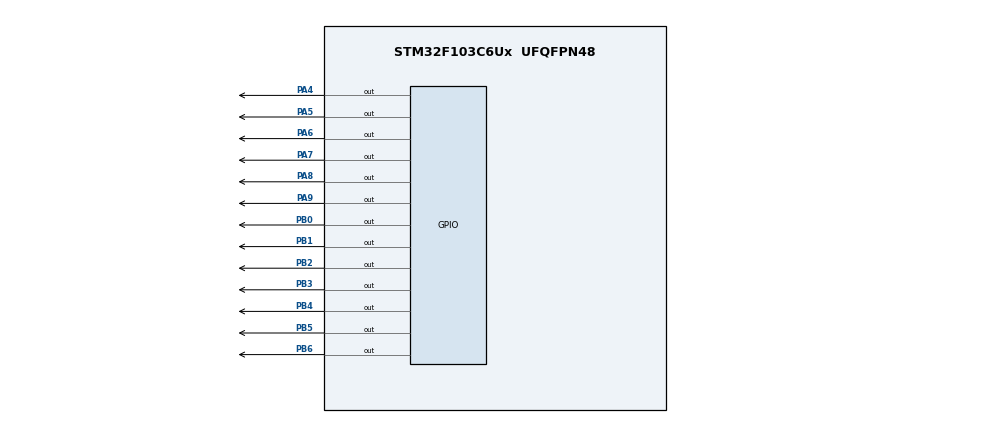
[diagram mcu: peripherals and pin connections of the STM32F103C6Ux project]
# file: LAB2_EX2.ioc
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Mcu.Family=STM32F1
Mcu.Name=STM32F103C6Ux
Mcu.Package=UFQFPN48
NVIC.PriorityGroup=NVIC_PRIORITYGROUP_4
NVIC.TIM2_IRQn=true\:0\:0\:false\:false\:true\:true\:true
PA4.Signal=GPIO_Output
PA5.Signal=GPIO_Output
PA6.Signal=GPIO_Output
PA7.Signal=GPIO_Output
PA8.Signal=GPIO_Output
PA9.Signal=GPIO_Output
PB0.Signal=GPIO_Output
PB1.Signal=GPIO_Output
PB2.Signal=GPIO_Output
PB3.Signal=GPIO_Output
PB4.Signal=GPIO_Output
PB5.Signal=GPIO_Output
PB6.Signal=GPIO_Output
ProjectManager.HeapSize=0x200
ProjectManager.StackSize=0x400
ProjectManager.TargetToolchain=STM32CubeIDE
RCC.APB1Freq_Value=8000000
RCC.APB2Freq_Value=8000000
TIM2.Period=9
TIM2.Prescaler=7999
VP_SYS_VS_ND.Mode=No_Debug
VP_TIM2_VS_ClockSourceINT.Mode=Internal
board=custom

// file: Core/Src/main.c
/* USER CODE BEGIN Header */
/**
  ******************************************************************************
  * @file           : main.c
  * @brief          : Main program body
  ******************************************************************************
  * @attention
  *
  * <h2><center>&copy; Copyright (c) 2025 STMicroelectronics.
  * All rights reserved.</center></h2>
  *
  * This software component is licensed by ST under BSD 3-Clause license,
  * the "License"; You may not use this file except in compliance with the
  * License. You may obtain a copy of the License at:
  *                        opensource.org/licenses/BSD-3-Clause
  *
  ******************************************************************************
  */
/* USER CODE END Header */
#include "main.h"

TIM_HandleTypeDef htim2;

void SystemClock_Config(void);
static void MX_GPIO_Init(void);
static void MX_TIM2_Init(void);

/* USER CODE BEGIN 0 */
volatile int tick10ms = 0;
volatile int secTick  = 0;
volatile int index_led = 0;

void display7SEG(int num){
    HAL_GPIO_WritePin(GPIOB, 0x7F, GPIO_PIN_SET);

    switch(num){
        case 0:
            HAL_GPIO_WritePin(GPIOB, GPIO_PIN_0, GPIO_PIN_RESET);
            HAL_GPIO_WritePin(GPIOB, GPIO_PIN_1, GPIO_PIN_RESET);
            HAL_GPIO_WritePin(GPIOB, GPIO_PIN_2, GPIO_PIN_RESET);
            HAL_GPIO_WritePin(GPIOB, GPIO_PIN_3, GPIO_PIN_RESET);
            HAL_GPIO_WritePin(GPIOB, GPIO_PIN_4, GPIO_PIN_RESET);
            HAL_GPIO_WritePin(GPIOB, GPIO_PIN_5, GPIO_PIN_RESET);
            break;
        case 1:
            HAL_GPIO_WritePin(GPIOB, GPIO_PIN_1, GPIO_PIN_RESET);
            HAL_GPIO_WritePin(GPIOB, GPIO_PIN_2, GPIO_PIN_RESET);
            break;
        case 2:
            HAL_GPIO_WritePin(GPIOB, GPIO_PIN_0, GPIO_PIN_RESET);
            HAL_GPIO_WritePin(GPIOB, GPIO_PIN_1, GPIO_PIN_RESET);
            HAL_GPIO_WritePin(GPIOB, GPIO_PIN_3, GPIO_PIN_RESET);
            HAL_GPIO_WritePin(GPIOB, GPIO_PIN_4, GPIO_PIN_RESET);
            HAL_GPIO_WritePin(GPIOB, GPIO_PIN_6, GPIO_PIN_RESET);
            break;
        case 3:
            HAL_GPIO_WritePin(GPIOB, GPIO_PIN_0, GPIO_PIN_RESET);
            HAL_GPIO_WritePin(GPIOB, GPIO_PIN_1, GPIO_PIN_RESET);
            HAL_GPIO_WritePin(GPIOB, GPIO_PIN_2, GPIO_PIN_RESET);
            HAL_GPIO_WritePin(GPIOB, GPIO_PIN_3, GPIO_PIN_RESET);
            HAL_GPIO_WritePin(GPIOB, GPIO_PIN_6, GPIO_PIN_RESET);
            break;
    }
}

void disableAllDigits(void){
    HAL_GPIO_WritePin(GPIOA, GPIO_PIN_6, GPIO_PIN_SET);
    HAL_GPIO_WritePin(GPIOA, GPIO_PIN_7, GPIO_PIN_SET);
    HAL_GPIO_WritePin(GPIOA, GPIO_PIN_8, GPIO_PIN_SET);
    HAL_GPIO_WritePin(GPIOA, GPIO_PIN_9, GPIO_PIN_SET);
}
void enableDigit(int idx){
    switch(idx){
        case 0: HAL_GPIO_WritePin(GPIOA, GPIO_PIN_6, GPIO_PIN_RESET); break;
        case 1: HAL_GPIO_WritePin(GPIOA, GPIO_PIN_7, GPIO_PIN_RESET); break;
        case 2: HAL_GPIO_WritePin(GPIOA, GPIO_PIN_8, GPIO_PIN_RESET); break;
        case 3: HAL_GPIO_WritePin(GPIOA, GPIO_PIN_9, GPIO_PIN_RESET); break;
    }
}

/* USER CODE END 0 */

int main(void)
{

  /* MCU Configuration--------------------------------------------------------*/

  /* Reset of all peripherals, Initializes the Flash interface and the Systick. */
  HAL_Init();

  /* Configure the system clock */
  SystemClock_Config();

  /* Initialize all configured peripherals */
  MX_GPIO_Init();
  MX_TIM2_Init();
  /* USER CODE BEGIN 2 */
  HAL_TIM_Base_Start_IT(&htim2);
  /* USER CODE END 2 */

  /* Infinite loop */
  while (1)
  {

  }
}

void SystemClock_Config(void)
{
  RCC_OscInitTypeDef RCC_OscInitStruct = {0};
  RCC_ClkInitTypeDef RCC_ClkInitStruct = {0};

  /** Initializes the RCC Oscillators according to the specified parameters
  * in the RCC_OscInitTypeDef structure.
  */
  RCC_OscInitStruct.OscillatorType = RCC_OSCILLATORTYPE_HSI;
  RCC_OscInitStruct.HSIState = RCC_HSI_ON;
  RCC_OscInitStruct.HSICalibrationValue = RCC_HSICALIBRATION_DEFAULT;
  RCC_OscInitStruct.PLL.PLLState = RCC_PLL_NONE;
  if (HAL_RCC_OscConfig(&RCC_OscInitStruct) != HAL_OK)
  {
    Error_Handler();
  }
  /** Initializes the CPU, AHB and APB buses clocks
  */
  RCC_ClkInitStruct.ClockType = RCC_CLOCKTYPE_HCLK|RCC_CLOCKTYPE_SYSCLK
                              |RCC_CLOCKTYPE_PCLK1|RCC_CLOCKTYPE_PCLK2;
  RCC_ClkInitStruct.SYSCLKSource = RCC_SYSCLKSOURCE_HSI;
  RCC_ClkInitStruct.AHBCLKDivider = RCC_SYSCLK_DIV1;
  RCC_ClkInitStruct.APB1CLKDivider = RCC_HCLK_DIV1;
  RCC_ClkInitStruct.APB2CLKDivider = RCC_HCLK_DIV1;

  if (HAL_RCC_ClockConfig(&RCC_ClkInitStruct, FLASH_LATENCY_0) != HAL_OK)
  {
    Error_Handler();
  }
}

static void MX_TIM2_Init(void)
{

  TIM_ClockConfigTypeDef sClockSourceConfig = {0};
  TIM_MasterConfigTypeDef sMasterConfig = {0};

  htim2.Instance = TIM2;
  htim2.Init.Prescaler = 7999;
  htim2.Init.CounterMode = TIM_COUNTERMODE_UP;
  htim2.Init.Period = 9;
  htim2.Init.ClockDivision = TIM_CLOCKDIVISION_DIV1;
  htim2.Init.AutoReloadPreload = TIM_AUTORELOAD_PRELOAD_DISABLE;
  if (HAL_TIM_Base_Init(&htim2) != HAL_OK)
  {
    Error_Handler();
  }
  sClockSourceConfig.ClockSource = TIM_CLOCKSOURCE_INTERNAL;
  if (HAL_TIM_ConfigClockSource(&htim2, &sClockSourceConfig) != HAL_OK)
  {
    Error_Handler();
  }
  sMasterConfig.MasterOutputTrigger = TIM_TRGO_RESET;
  sMasterConfig.MasterSlaveMode = TIM_MASTERSLAVEMODE_DISABLE;
  if (HAL_TIMEx_MasterConfigSynchronization(&htim2, &sMasterConfig) != HAL_OK)
  {
    Error_Handler();
  }

}

static void MX_GPIO_Init(void)
{
  GPIO_InitTypeDef GPIO_InitStruct = {0};

  /* GPIO Ports Clock Enable */
  __HAL_RCC_GPIOA_CLK_ENABLE();
  __HAL_RCC_GPIOB_CLK_ENABLE();

  /*Configure GPIO pin Output Level */
  HAL_GPIO_WritePin(GPIOA, GPIO_PIN_4|GPIO_PIN_5|GPIO_PIN_6|GPIO_PIN_7
                          |GPIO_PIN_8|GPIO_PIN_9, GPIO_PIN_RESET);

  /*Configure GPIO pin Output Level */
  HAL_GPIO_WritePin(GPIOB, GPIO_PIN_0|GPIO_PIN_1|GPIO_PIN_2|GPIO_PIN_3
                          |GPIO_PIN_4|GPIO_PIN_5|GPIO_PIN_6, GPIO_PIN_RESET);

  /*Configure GPIO pins : PA4 PA5 PA6 PA7
                           PA8 PA9 */
  GPIO_InitStruct.Pin = GPIO_PIN_4|GPIO_PIN_5|GPIO_PIN_6|GPIO_PIN_7
                          |GPIO_PIN_8|GPIO_PIN_9;
  GPIO_InitStruct.Mode = GPIO_MODE_OUTPUT_PP;
  GPIO_InitStruct.Pull = GPIO_NOPULL;
  GPIO_InitStruct.Speed = GPIO_SPEED_FREQ_LOW;
  HAL_GPIO_Init(GPIOA, &GPIO_InitStruct);

  /*Configure GPIO pins : PB0 PB1 PB2 PB3
                           PB4 PB5 PB6 */
  GPIO_InitStruct.Pin = GPIO_PIN_0|GPIO_PIN_1|GPIO_PIN_2|GPIO_PIN_3
                          |GPIO_PIN_4|GPIO_PIN_5|GPIO_PIN_6;
  GPIO_InitStruct.Mode = GPIO_MODE_OUTPUT_PP;
  GPIO_InitStruct.Pull = GPIO_NOPULL;
  GPIO_InitStruct.Speed = GPIO_SPEED_FREQ_LOW;
  HAL_GPIO_Init(GPIOB, &GPIO_InitStruct);

}

/* USER CODE BEGIN 4 */
void HAL_TIM_PeriodElapsedCallback(TIM_HandleTypeDef *htim){
    if(htim->Instance == TIM2){
        tick10ms++;
        secTick++;

        if(tick10ms >= 50){
            tick10ms = 0;
            disableAllDigits();

            switch(index_led){
                case 0: display7SEG(1); enableDigit(0); break;
                case 1: display7SEG(2); enableDigit(1); break;
                case 2: display7SEG(3); enableDigit(2); break;
                case 3: display7SEG(0); enableDigit(3); break;
            }
            index_led++;
            if(index_led >= 4) index_led = 0;
        }

        if(secTick >= 100){
            secTick = 0;
            HAL_GPIO_TogglePin(GPIOA, GPIO_PIN_4);
            HAL_GPIO_TogglePin(GPIOA, GPIO_PIN_5);
        }
    }
}
/* USER CODE END 4 */

void Error_Handler(void)
{
  __disable_irq();
  while (1)
  {
  }
}

/************************ (C) COPYRIGHT STMicroelectronics *****END OF FILE****/
